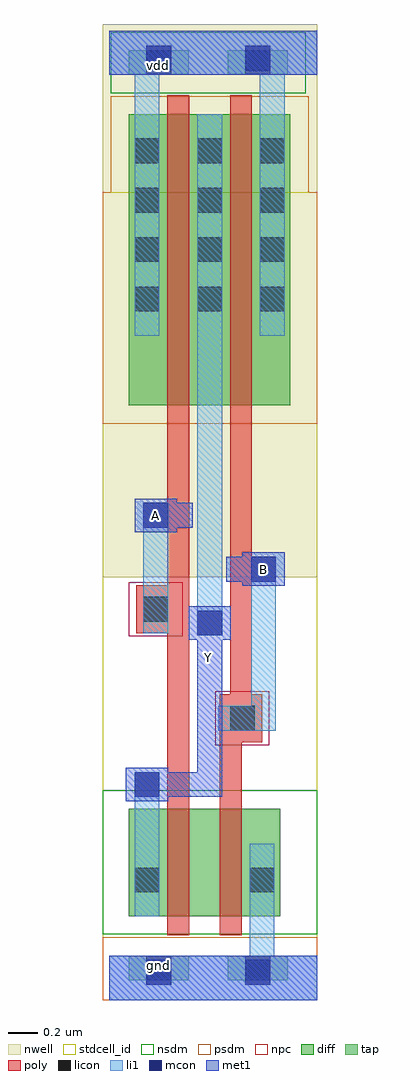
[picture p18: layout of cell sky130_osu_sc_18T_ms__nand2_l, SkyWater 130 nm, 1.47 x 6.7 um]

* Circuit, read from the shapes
.subckt sky130_osu_sc_18T_ms__nand2_l A B Y gnd vdd
XM1 n1 A Y gnd sky130_fd_pr__nfet_01v8 w=0.74 l=0.15
XM2 gnd B n1 gnd sky130_fd_pr__nfet_01v8 w=0.74 l=0.15
XM3 Y A vdd vdd sky130_fd_pr__pfet_01v8 w=2 l=0.15
XM4 vdd B Y vdd sky130_fd_pr__pfet_01v8 w=2 l=0.15
.ends

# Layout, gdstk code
import gdstk
lib = gdstk.Library(unit=1e-6, precision=1e-09)
def R(c, l, rs):  # rectangles x0, y0, x1, y1
    for r in rs: c.add(gdstk.rectangle(r[:2], r[2:], *l))
def A(c, l, x, y, w, h, nx, ny, dx, dy):  # array of equal rectangles
    R(c, l, [(x+i*dx, y+j*dy, x+i*dx+w, y+j*dy+h) for i in range(nx) for j in range(ny)])
nwell = (64, 20)
diff = (65, 20)
tap = (65, 44)
poly = (66, 20)
licon = (66, 44)
li1 = (67, 20)
mcon = (67, 44)
met1 = (68, 20)
stdcell_id = (81, 4)
nsdm = (93, 44)
psdm = (94, 20)
npc = (95, 20)

sky130_osu_sc_18t_ms__na = lib.new_cell('sky130_osu_sc_18T_ms__nand2_l')
R(sky130_osu_sc_18t_ms__na, nwell, [(-0.045,2.905,1.43,6.705)])
R(sky130_osu_sc_18t_ms__na, diff, [(0.135,0.575,1.175,1.315), (0.135,4.085,1.245,6.085)])
R(sky130_osu_sc_18t_ms__na, tap, [(0.135,0.135,0.545,0.305), (0.815,0.135,1.225,0.305), (0.135,6.355,0.545,6.525), (0.815,6.355,1.225,6.525)])
R(sky130_osu_sc_18t_ms__na, poly, [(0.4,0.445,0.55,2.52), (0.76,0.445,0.91,1.77), (0.76,1.77,1.05,2.1), (0.83,2.1,0.98,6.215), (0.185,2.52,0.55,2.85), (0.4,2.85,0.55,6.215)])
A(sky130_osu_sc_18t_ms__na, licon, 0.175, 4.73, 0.17, 0.17, 3, 4, 0.43, 0.34)
R(sky130_osu_sc_18t_ms__na, licon, [(0.255,0.135,0.425,0.305), (0.935,0.135,1.105,0.305), (0.175,0.74,0.345,0.91), (0.965,0.74,1.135,0.91), (0.83,1.85,1,2.02), (0.235,2.6,0.405,2.77), (0.255,6.355,0.425,6.525), (0.935,6.355,1.105,6.525)])
R(sky130_osu_sc_18t_ms__na, li1, [(0,0,1.43,0.305), (0.965,0.305,1.135,1.075), (0.175,0.575,0.345,1.565), (0.75,1.85,1.145,2.02), (0.975,2.02,1.145,3.045), (0.605,2.505,0.775,6.085), (0.235,2.52,0.405,3.415), (0.175,4.565,0.345,6.355), (1.035,4.565,1.205,6.355), (0,6.355,1.43,6.66)])
R(sky130_osu_sc_18t_ms__na, mcon, [(0.255,0.105,0.425,0.275), (0.935,0.105,1.105,0.275), (0.175,1.395,0.345,1.565), (0.605,2.505,0.775,2.675), (0.975,2.875,1.145,3.045), (0.235,3.245,0.405,3.415), (0.255,6.385,0.425,6.555), (0.935,6.385,1.105,6.555)])
R(sky130_osu_sc_18t_ms__na, met1, [(0,0,1.43,0.305), (0.115,1.365,0.405,1.395), (0.115,1.395,0.775,1.565), (0.115,1.565,0.405,1.595), (0.605,1.565,0.775,2.475), (0.545,2.475,0.835,2.705), (0.915,2.845,1.205,2.875), (0.805,2.875,1.205,3.045), (0.915,3.045,1.205,3.075), (0.175,3.215,0.465,3.245), (0.175,3.245,0.575,3.415), (0.175,3.415,0.465,3.445), (0,6.355,1.43,6.66)])
R(sky130_osu_sc_18t_ms__na, stdcell_id, [(-0.045,0,1.43,5.55)])
R(sky130_osu_sc_18t_ms__na, nsdm, [(-0.045,0.45,1.43,1.44), (0.01,6.23,1.35,6.65)])
R(sky130_osu_sc_18t_ms__na, psdm, [(-0.045,0,1.43,0.43), (-0.045,3.96,1.43,5.55), (0.01,5.55,1.37,6.21)])
R(sky130_osu_sc_18t_ms__na, npc, [(0.73,1.75,1.1,2.12), (0.135,2.5,0.505,2.87)])
sky130_osu_sc_18t_ms__na.add(gdstk.Label('gnd', (0.34,0.24), layer=68, texttype=16))
sky130_osu_sc_18t_ms__na.add(gdstk.Label('vdd', (0.34,6.42), layer=68, texttype=16))
sky130_osu_sc_18t_ms__na.add(gdstk.Label('Y', (0.68,2.35), layer=68, texttype=5))
sky130_osu_sc_18t_ms__na.add(gdstk.Label('B', (1.06,2.96), layer=68, texttype=5))
sky130_osu_sc_18t_ms__na.add(gdstk.Label('A', (0.32,3.33), layer=68, texttype=5))

lib.write_gds('sky130_osu_sc_18T_ms__nand2_l.gds')
